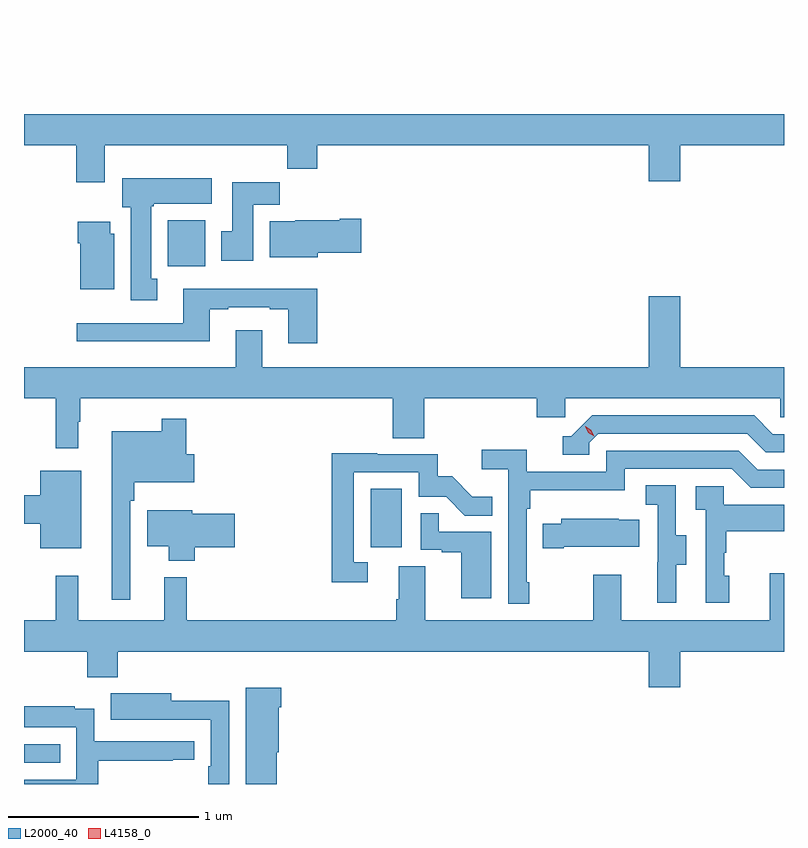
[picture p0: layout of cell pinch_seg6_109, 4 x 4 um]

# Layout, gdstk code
import gdstk
lib = gdstk.Library(unit=1e-6, precision=1e-09)
def R(c, l, rs):  # rectangles x0, y0, x1, y1
    for r in rs: c.add(gdstk.rectangle(r[:2], r[2:], *l))
def P(c, l, *ps):  # polygons
    for p in ps: c.add(gdstk.Polygon(p, *l))
L2000_40 = (2000, 40)
L4158_0 = (4158, 0)

pinch_seg6_109 = lib.new_cell('pinch_seg6_109')
R(pinch_seg6_109, L2000_40, [(904.975,920.112,905.165,920.208), (906.8,921.246,906.964,921.553), (905.732,922.724,905.929,922.966), (905.04,923.998,905.428,923.999)])
P(pinch_seg6_109, L2000_40, [(905.401,923.36),(906.361,923.36),(906.361,923.236),(906.518,923.236),(906.518,923.36),(908.264,923.36),(908.264,923.172),(908.428,923.172),(908.428,923.36),(908.975,923.36),(908.975,923.524),(904.975,923.524),(904.975,923.36),(905.249,923.36),(905.249,923.166),(905.401,923.166)],
  [(905.677,922.658),(905.644,922.658),(905.644,923.041),(905.658,923.041),(905.658,923.054),(905.962,923.054),(905.962,923.188),(905.492,923.188),(905.492,923.034),(905.537,923.034),(905.537,922.545),(905.677,922.545)],
  [(906.181,923.048),(906.32,923.048),(906.32,923.167),(906.071,923.167),(906.071,922.908),(906.014,922.908),(906.014,922.752),(906.181,922.752)],
  [(906.52,922.796),(906.751,922.796),(906.751,922.974),(906.638,922.974),(906.638,922.966),(906.402,922.966),(906.402,922.96),(906.269,922.96),(906.269,922.772),(906.52,922.772)],
  [(905.449,922.896),(905.428,922.896),(905.428,922.957),(905.258,922.957),(905.258,922.844),(905.27,922.844),(905.27,922.604),(905.449,922.604)],
  [(906.518,922.606),(905.813,922.606),(905.813,922.425),(905.253,922.425),(905.253,922.328),(905.953,922.328),(905.953,922.497),(906.049,922.497),(906.049,922.509),(906.269,922.509),(906.269,922.497),(906.365,922.497),(906.365,922.32),(906.518,922.32)],
  [(905.26,921.905),(905.272,921.905),(905.272,922.028),(906.917,922.028),(906.917,921.82),(907.082,921.82),(907.082,922.028),(907.673,922.028),(907.673,921.93),(907.824,921.93),(907.824,922.028),(908.955,922.028),(908.955,921.93),(908.975,921.93),(908.975,922.192),(908.428,922.192),(908.428,922.567),(908.264,922.567),(908.264,922.192),(906.229,922.192),(906.229,922.387),(906.089,922.387),(906.089,922.192),(904.975,922.192),(904.975,922.028),(905.143,922.028),(905.143,921.765),(905.26,921.765)],
  [(907.95,921.795),(907.998,921.843),(908.781,921.843),(908.88,921.744),(908.975,921.744),(908.975,921.84),(908.917,921.84),(908.818,921.939),(907.965,921.939),(907.854,921.828),(907.811,921.828),(907.811,921.732),(907.95,921.732)],
  [(905.535,921.491),(905.555,921.491),(905.555,921.587),(905.872,921.587),(905.872,921.735),(905.828,921.735),(905.828,921.922),(905.7,921.922),(905.7,921.856),(905.438,921.856),(905.438,920.97),(905.535,920.97)],
  [(907.633,921.061),(907.62,921.061),(907.62,921.449),(907.64,921.449),(907.64,921.545),(908.136,921.545),(908.136,921.657),(908.7,921.657),(908.799,921.558),(908.975,921.558),(908.975,921.654),(908.836,921.654),(908.737,921.753),(908.04,921.753),(908.04,921.642),(907.622,921.642),(907.622,921.758),(907.383,921.758),(907.383,921.656),(907.524,921.656),(907.524,920.949),(907.633,920.949)],
  [(906.784,921.165),(906.711,921.165),(906.711,921.639),(907.053,921.639),(907.053,921.51),(907.197,921.51),(907.295,921.412),(907.439,921.412),(907.439,921.511),(907.335,921.511),(907.228,921.618),(907.152,921.618),(907.152,921.735),(906.833,921.735),(906.833,921.74),(906.595,921.74),(906.595,921.06),(906.784,921.06)],
  [(905.275,921.649),(905.06,921.649),(905.06,921.52),(904.975,921.52),(904.975,921.368),(905.06,921.368),(905.06,921.239),(905.275,921.239)],
  [(908.407,921.154),(908.461,921.154),(908.461,921.309),(908.406,921.309),(908.406,921.572),(908.247,921.572),(908.247,921.469),(908.31,921.469),(908.31,921.165),(908.309,921.165),(908.309,920.952),(908.407,920.952)],
  [(908.686,921.096),(908.661,921.096),(908.661,921.215),(908.671,921.215),(908.671,921.329),(908.975,921.329),(908.975,921.469),(908.658,921.469),(908.658,921.567),(908.511,921.567),(908.511,921.443),(908.562,921.443),(908.562,920.952),(908.686,920.952)],
  [(905.873,921.244),(906.085,921.244),(906.085,921.422),(905.86,921.422),(905.86,921.439),(905.624,921.439),(905.624,921.251),(905.738,921.251),(905.738,921.173),(905.873,921.173)],
  [(907.435,921.327),(907.157,921.327),(907.157,921.425),(907.062,921.425),(907.062,921.231),(907.173,921.231),(907.173,921.219),(907.277,921.219),(907.277,920.976),(907.435,920.976)],
  [(907.816,921.248),(908.213,921.248),(908.213,921.391),(908.105,921.391),(908.105,921.394),(907.803,921.394),(907.803,921.37),(907.705,921.37),(907.705,921.241),(907.816,921.241)],
  [(908.428,920.696),(908.975,920.696),(908.975,921.109),(908.9,921.109),(908.9,920.86),(908.119,920.86),(908.119,921.1),(907.972,921.1),(907.972,920.86),(907.087,920.86),(907.087,921.146),(906.947,921.146),(906.947,920.972),(906.935,920.972),(906.935,920.86),(905.831,920.86),(905.831,921.088),(905.714,921.088),(905.714,920.86),(905.261,920.86),(905.261,921.094),(905.143,921.094),(905.143,920.86),(904.975,920.86),(904.975,920.696),(905.308,920.696),(905.308,920.561),(905.468,920.561),(905.468,920.696),(908.264,920.696),(908.264,920.508),(908.428,920.508)],
  [(906.304,920.166),(906.316,920.166),(906.316,920.402),(906.329,920.402),(906.329,920.506),(906.143,920.506),(906.143,919.999),(906.304,919.999)],
  [(906.054,920.438),(905.749,920.438),(905.749,920.476),(905.431,920.476),(905.431,920.336),(905.645,920.336),(905.645,920.337),(905.958,920.337),(905.958,920.092),(905.945,920.092),(905.945,919.999),(906.054,919.999)],
  [(905.366,920.122),(905.759,920.122),(905.759,920.127),(905.872,920.127),(905.872,920.223),(905.346,920.223),(905.346,920.395),(905.243,920.395),(905.243,920.407),(904.975,920.407),(904.975,920.298),(905.25,920.298),(905.25,920.022),(904.975,920.022),(904.975,919.999),(905.366,919.999)])
P(pinch_seg6_109, L4158_0, [(907.976,921.83),(907.945,921.849),(907.928,921.882),(907.928,921.882),(907.928,921.882),(907.959,921.863),(907.976,921.83),(907.976,921.83)])

lib.write_gds('pinch_seg6_109.gds')
